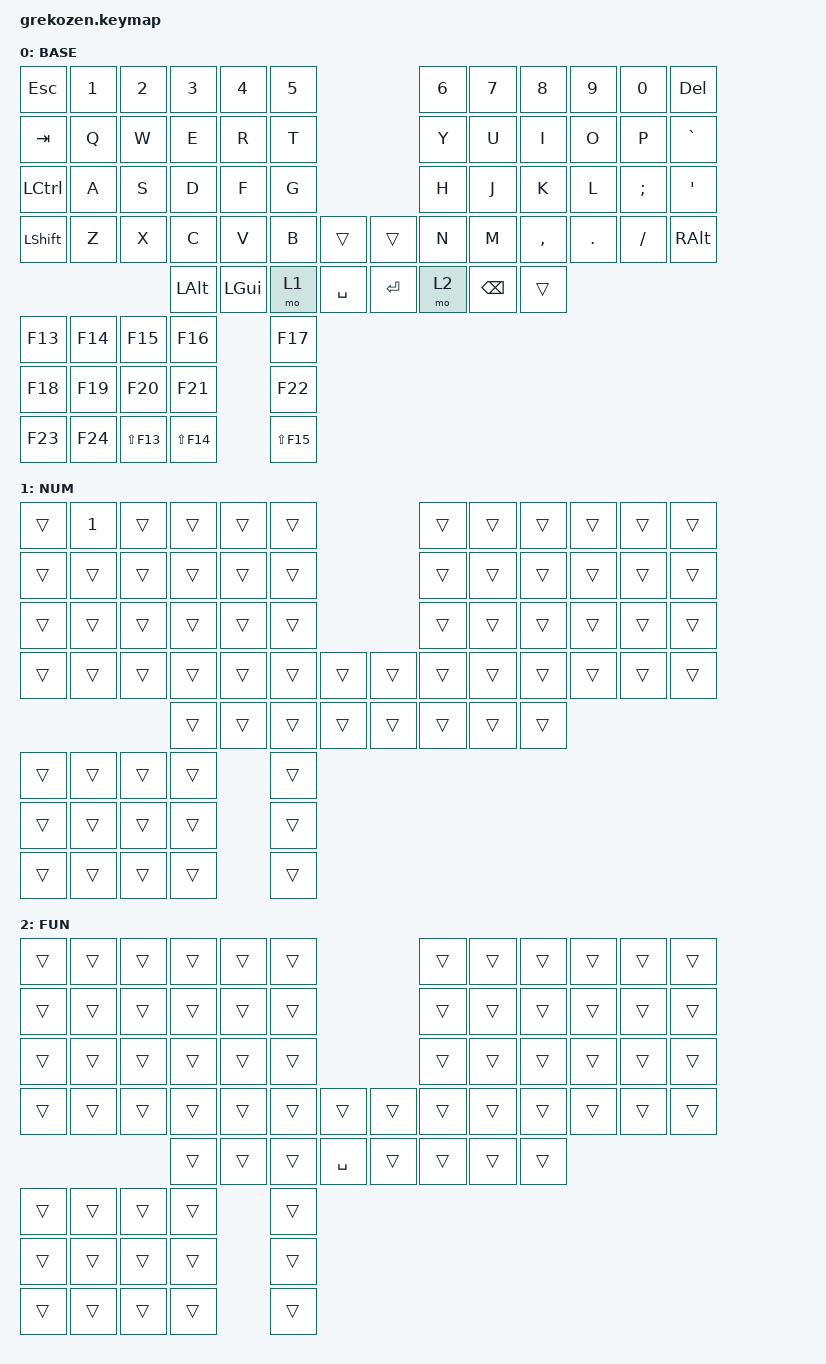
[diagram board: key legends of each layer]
/*
 * Copyright (c) 2020 The ZMK Contributors
 *
 * SPDX-License-Identifier: MIT
 */

#include <behaviors.dtsi>
#include <dt-bindings/zmk/keys.h>
#include <dt-bindings/zmk/bt.h>
#include <dt-bindings/zmk/pointing.h>
#include <dt-bindings/zmk/outputs.h>

/ {

    keymap {
      compatible = "zmk,keymap"; 

      BASE {
        display-name = "BASE";
        bindings = <
          &kp ESCAPE  &kp N1  &kp N2  &kp N3    &kp N4    &kp N5                     &kp N6  &kp N7         &kp N8     &kp N9      &kp N0         &kp DEL
          &kp TAB     &kp Q   &kp W   &kp E     &kp R     &kp T                      &kp Y   &kp U          &kp I      &kp O       &kp P          &kp GRAVE
          &kp LCTRL   &kp A   &kp S   &kp D     &kp F     &kp G                      &kp H   &kp J          &kp K      &kp L       &kp SEMICOLON  &kp SQT
          &kp LSHIFT  &kp Z   &kp X   &kp C     &kp V     &kp B  &trans     &trans   &kp N   &kp M          &kp COMMA  &kp PERIOD  &kp SLASH      &kp RALT
                                      &kp LALT  &kp LGUI  &mo 1  &kp SPACE  &kp RET  &mo 2   &kp BACKSPACE  &trans

          &kp F13  &kp F14  &kp F15      &kp F16      &kp F17
          &kp F18  &kp F19  &kp F20      &kp F21      &kp F22
          &kp F23  &kp F24  &kp LS(F13)  &kp LS(F14)  &kp LS(F15)
        >;
      };

      NUM {
        display-name = "NUM";
        bindings = <
          &trans  &kp N1  &trans  &trans  &trans  &trans                  &trans  &trans  &trans  &trans  &trans  &trans
          &trans  &trans  &trans  &trans  &trans  &trans                  &trans  &trans  &trans  &trans  &trans  &trans
          &trans  &trans  &trans  &trans  &trans  &trans                  &trans  &trans  &trans  &trans  &trans  &trans
          &trans  &trans  &trans  &trans  &trans  &trans  &trans  &trans  &trans  &trans  &trans  &trans  &trans  &trans
                                  &trans  &trans  &trans  &trans  &trans  &trans  &trans  &trans

          &trans  &trans  &trans  &trans  &trans
          &trans  &trans  &trans  &trans  &trans
          &trans  &trans  &trans  &trans  &trans
        >;
      };

      FUN {
        display-name = "FUN";
        bindings = <
          &trans  &trans  &trans  &trans  &trans  &trans                     &trans  &trans  &trans  &trans  &trans  &trans
          &trans  &trans  &trans  &trans  &trans  &trans                     &trans  &trans  &trans  &trans  &trans  &trans
          &trans  &trans  &trans  &trans  &trans  &trans                     &trans  &trans  &trans  &trans  &trans  &trans
          &trans  &trans  &trans  &trans  &trans  &trans  &trans     &trans  &trans  &trans  &trans  &trans  &trans  &trans
                                  &trans  &trans  &trans  &kp SPACE  &trans  &trans  &trans  &trans

          &trans  &trans  &trans  &trans  &trans
          &trans  &trans  &trans  &trans  &trans
          &trans  &trans  &trans  &trans  &trans
        >;
      };

    };
};
